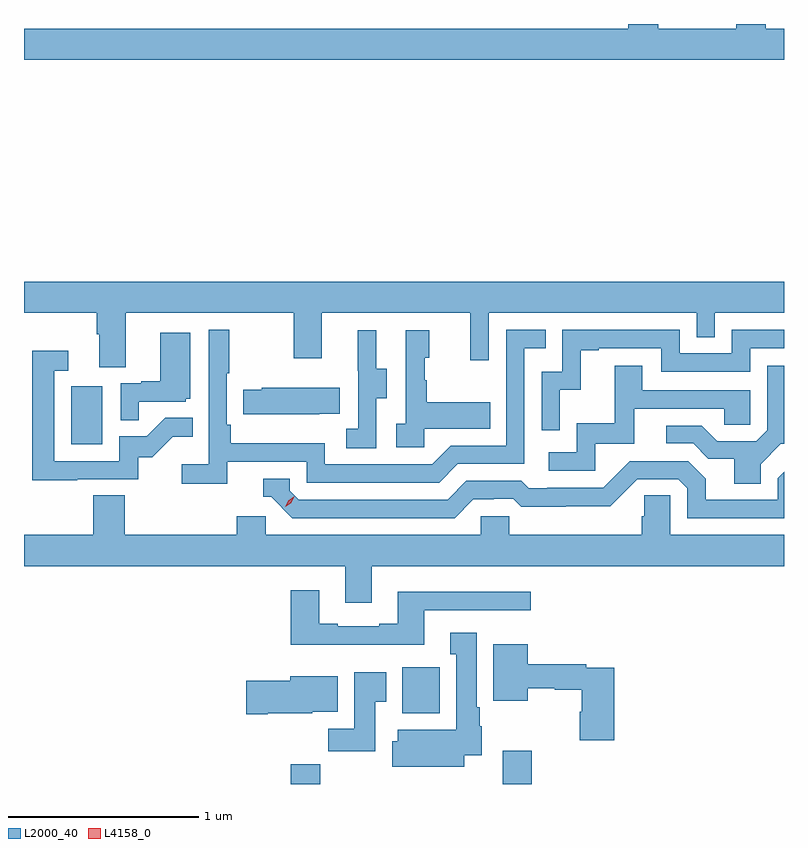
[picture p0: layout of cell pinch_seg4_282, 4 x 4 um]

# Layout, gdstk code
import gdstk
lib = gdstk.Library(unit=1e-6, precision=1e-09)
def R(c, l, rs):  # rectangles x0, y0, x1, y1
    for r in rs: c.add(gdstk.rectangle(r[:2], r[2:], *l))
def P(c, l, *ps):  # polygons
    for p in ps: c.add(gdstk.Polygon(p, *l))
L2000_40 = (2000, 40)
L4158_0 = (4158, 0)

pinch_seg4_282 = lib.new_cell('pinch_seg4_282')
R(pinch_seg4_282, L2000_40, [(946.583,806.329,946.739,806.432), (947.699,806.329,947.852,806.503), (947.171,806.702,947.368,806.944), (945.428,808.116,945.592,808.423)])
P(pinch_seg4_282, L2000_40, [(949.18,810.304),(949.083,810.304),(949.083,810.329),(948.928,810.329),(948.928,810.304),(948.519,810.304),(948.519,810.329),(948.359,810.329),(948.359,810.304),(945.18,810.304),(945.18,810.14),(949.18,810.14)],
  [(945.18,808.808),(945.563,808.808),(945.563,808.696),(945.575,808.696),(945.575,808.522),(945.715,808.522),(945.715,808.808),(946.6,808.808),(946.6,808.569),(946.747,808.569),(946.747,808.808),(947.528,808.808),(947.528,808.56),(947.625,808.56),(947.625,808.808),(948.72,808.808),(948.72,808.681),(948.816,808.681),(948.816,808.808),(949.18,808.808),(949.18,808.972),(945.18,808.972)],
  [(946.25,808.026),(946.668,808.026),(946.668,807.915),(947.365,807.915),(947.464,808.014),(947.814,808.014),(947.814,808.623),(947.927,808.623),(947.927,808.719),(947.718,808.719),(947.718,808.11),(947.427,808.11),(947.328,808.011),(946.764,808.011),(946.764,808.123),(946.268,808.123),(946.268,808.219),(946.248,808.219),(946.248,808.492),(946.261,808.492),(946.261,808.72),(946.152,808.72),(946.152,808.012),(946.011,808.012),(946.011,807.91),(946.25,807.91)],
  [(948,808.403),(948.11,808.403),(948.11,808.611),(948.205,808.611),(948.205,808.623),(948.534,808.623),(948.534,808.5),(949.002,808.5),(949.002,808.623),(949.18,808.623),(949.18,808.719),(948.906,808.719),(948.906,808.596),(948.63,808.596),(948.63,808.719),(948.012,808.719),(948.012,808.5),(947.904,808.5),(947.904,808.191),(948,808.191)],
  [(947.286,808.199),(947.633,808.199),(947.633,808.339),(947.299,808.339),(947.299,808.454),(947.289,808.454),(947.289,808.572),(947.314,808.572),(947.314,808.717),(947.19,808.717),(947.19,808.226),(947.139,808.226),(947.139,808.101),(947.286,808.101)],
  [(947.034,808.36),(947.089,808.36),(947.089,808.515),(947.035,808.515),(947.035,808.717),(946.937,808.717),(946.937,808.503),(946.938,808.503),(946.938,808.199),(946.875,808.199),(946.875,808.096),(947.034,808.096)],
  [(945.785,808.341),(946.032,808.341),(946.032,808.356),(946.054,808.356),(946.054,808.705),(945.896,808.705),(945.896,808.45),(945.797,808.45),(945.797,808.437),(945.69,808.437),(945.69,808.243),(945.785,808.243)],
  [(945.461,807.933),(945.78,807.933),(945.78,808.05),(945.856,808.05),(945.963,808.157),(946.067,808.157),(946.067,808.256),(945.923,808.256),(945.825,808.158),(945.681,808.158),(945.681,808.029),(945.339,808.029),(945.339,808.503),(945.412,808.503),(945.412,808.609),(945.223,808.609),(945.223,807.928),(945.461,807.928)],
  [(949.057,808.012),(949.164,808.119),(949.18,808.119),(949.18,808.531),(949.092,808.531),(949.092,808.191),(949.035,808.134),(948.829,808.134),(948.748,808.215),(948.561,808.215),(948.561,808.122),(948.702,808.122),(948.782,808.042),(948.917,808.042),(948.917,807.91),(949.057,807.91)],
  [(948.186,808.119),(948.391,808.119),(948.391,808.305),(948.865,808.305),(948.865,808.221),(949.002,808.221),(949.002,808.401),(948.433,808.401),(948.433,808.531),(948.289,808.531),(948.289,808.228),(948.09,808.228),(948.09,808.074),(947.943,808.074),(947.943,807.978),(948.186,807.978)],
  [(946.733,808.277),(946.841,808.277),(946.841,808.414),(946.431,808.414),(946.431,808.404),(946.333,808.404),(946.333,808.274),(946.733,808.274)],
  [(947.545,807.828),(947.652,807.828),(947.652,807.831),(947.755,807.831),(947.797,807.789),(948.03,807.789),(948.03,807.791),(948.266,807.791),(948.408,807.933),(948.624,807.933),(948.672,807.885),(948.672,807.729),(949.18,807.729),(949.18,807.973),(949.146,807.939),(949.146,807.825),(948.769,807.825),(948.769,807.935),(948.675,808.029),(948.369,808.029),(948.228,807.888),(947.935,807.888),(947.935,807.885),(947.836,807.885),(947.797,807.924),(947.508,807.924),(947.409,807.825),(946.626,807.825),(946.578,807.873),(946.578,807.936),(946.439,807.936),(946.439,807.84),(946.482,807.84),(946.593,807.729),(947.446,807.729)],
  [(947.011,807.476),(949.18,807.476),(949.18,807.64),(948.582,807.64),(948.582,807.848),(948.445,807.848),(948.445,807.738),(948.431,807.738),(948.431,807.64),(947.733,807.64),(947.733,807.738),(947.583,807.738),(947.583,807.64),(946.452,807.64),(946.452,807.738),(946.301,807.738),(946.301,807.64),(945.71,807.64),(945.71,807.848),(945.545,807.848),(945.545,807.64),(945.18,807.64),(945.18,807.476),(946.871,807.476),(946.871,807.282),(947.011,807.282)],
  [(947.287,807.243),(947.848,807.243),(947.848,807.34),(947.147,807.34),(947.147,807.172),(947.051,807.172),(947.051,807.159),(946.831,807.159),(946.831,807.172),(946.735,807.172),(946.735,807.349),(946.583,807.349),(946.583,807.062),(947.287,807.062)],
  [(947.497,806.48),(947.59,806.48),(947.59,806.634),(947.578,806.634),(947.578,806.734),(947.563,806.734),(947.563,807.124),(947.423,807.124),(947.423,807.011),(947.456,807.011),(947.456,806.614),(947.147,806.614),(947.147,806.555),(947.117,806.555),(947.117,806.42),(947.497,806.42)],
  [(948.287,806.94),(948.14,806.94),(948.14,806.96),(947.83,806.96),(947.83,807.064),(947.651,807.064),(947.651,806.768),(947.83,806.768),(947.83,806.832),(947.973,806.832),(947.973,806.824),(948.116,806.824),(948.116,806.709),(948.104,806.709),(948.104,806.559),(948.287,806.559)],
  [(947.029,806.761),(947.086,806.761),(947.086,806.917),(946.919,806.917),(946.919,806.62),(946.78,806.62),(946.78,806.502),(947.029,806.502)],
  [(946.462,806.702),(946.698,806.702),(946.698,806.708),(946.831,806.708),(946.831,806.896),(946.58,806.896),(946.58,806.873),(946.35,806.873),(946.35,806.695),(946.462,806.695)])
P(pinch_seg4_282, L4158_0, [(946.554,807.787),(946.554,807.787),(946.57,807.82),(946.601,807.84),(946.602,807.84),(946.602,807.84),(946.585,807.807),(946.554,807.787)])

lib.write_gds('pinch_seg4_282.gds')
